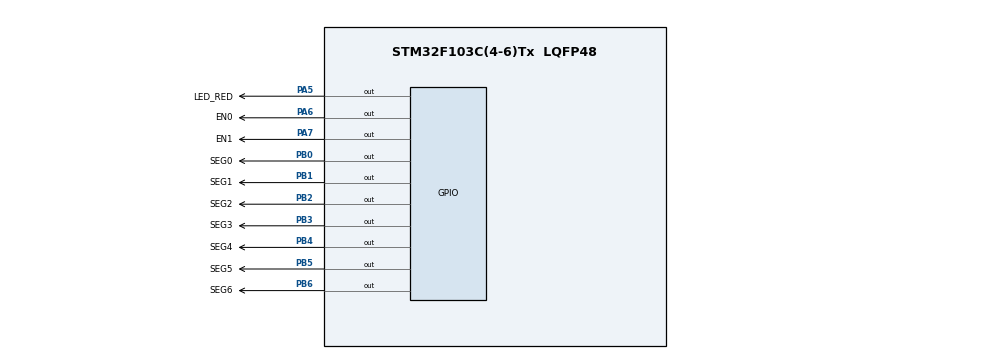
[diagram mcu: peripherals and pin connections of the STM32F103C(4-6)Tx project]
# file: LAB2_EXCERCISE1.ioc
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Mcu.Family=STM32F1
Mcu.Name=STM32F103C(4-6)Tx
Mcu.Package=LQFP48
NVIC.PriorityGroup=NVIC_PRIORITYGROUP_4
NVIC.TIM2_IRQn=true\:0\:0\:false\:false\:true\:true\:true
PA5.GPIO_Label=LED_RED
PA5.Signal=GPIO_Output
PA6.GPIO_Label=EN0
PA6.Signal=GPIO_Output
PA7.GPIO_Label=EN1
PA7.Signal=GPIO_Output
PB0.GPIO_Label=SEG0
PB0.Signal=GPIO_Output
PB1.GPIO_Label=SEG1
PB1.Signal=GPIO_Output
PB2.GPIO_Label=SEG2
PB2.Signal=GPIO_Output
PB3.GPIO_Label=SEG3
PB3.Signal=GPIO_Output
PB4.GPIO_Label=SEG4
PB4.Signal=GPIO_Output
PB5.GPIO_Label=SEG5
PB5.Signal=GPIO_Output
PB6.GPIO_Label=SEG6
PB6.Signal=GPIO_Output
ProjectManager.HeapSize=0x200
ProjectManager.StackSize=0x400
ProjectManager.TargetToolchain=STM32CubeIDE
RCC.APB1Freq_Value=8000000
RCC.APB2Freq_Value=8000000
TIM2.Period=9
TIM2.Prescaler=7999
VP_SYS_VS_ND.Mode=No_Debug
VP_TIM2_VS_ClockSourceINT.Mode=Internal
board=custom

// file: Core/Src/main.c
/* USER CODE BEGIN Header */
/**
  ******************************************************************************
  * @file           : main.c
  * @brief          : Main program body
  ******************************************************************************
  * @attention
  *
  * <h2><center>&copy; Copyright (c) 2025 STMicroelectronics.
  * All rights reserved.</center></h2>
  *
  * This software component is licensed by ST under BSD 3-Clause license,
  * the "License"; You may not use this file except in compliance with the
  * License. You may obtain a copy of the License at:
  *                        opensource.org/licenses/BSD-3-Clause
  *
  ******************************************************************************
  */
/* USER CODE END Header */
#include "main.h"

TIM_HandleTypeDef htim2;

void SystemClock_Config(void);
static void MX_GPIO_Init(void);
static void MX_TIM2_Init(void);

/* USER CODE BEGIN 0 */
void display7SEG(int num){
	char led7segm[10]={0xC0, 0xF9, 0xA4, 0xB0, 0x99, 0x92, 0x82, 0xF8, 0x80, 0x90};
	for(int i=0;i<7;i++){
		HAL_GPIO_WritePin(GPIOB, SEG0_Pin<<i,(led7segm[num]>>i)&1);
	}
}
/* USER CODE END 0 */

int main(void)
{

  /* MCU Configuration--------------------------------------------------------*/

  /* Reset of all peripherals, Initializes the Flash interface and the Systick. */
  HAL_Init();

  /* Configure the system clock */
  SystemClock_Config();

  /* Initialize all configured peripherals */
  MX_GPIO_Init();
  MX_TIM2_Init();
  /* USER CODE BEGIN 2 */
HAL_TIM_Base_Start_IT(&htim2);
  /* USER CODE END 2 */

  /* Infinite loop */
  while (1)
  {

  }
}

void SystemClock_Config(void)
{
  RCC_OscInitTypeDef RCC_OscInitStruct = {0};
  RCC_ClkInitTypeDef RCC_ClkInitStruct = {0};

  /** Initializes the RCC Oscillators according to the specified parameters
  * in the RCC_OscInitTypeDef structure.
  */
  RCC_OscInitStruct.OscillatorType = RCC_OSCILLATORTYPE_HSI;
  RCC_OscInitStruct.HSIState = RCC_HSI_ON;
  RCC_OscInitStruct.HSICalibrationValue = RCC_HSICALIBRATION_DEFAULT;
  RCC_OscInitStruct.PLL.PLLState = RCC_PLL_NONE;
  if (HAL_RCC_OscConfig(&RCC_OscInitStruct) != HAL_OK)
  {
    Error_Handler();
  }
  /** Initializes the CPU, AHB and APB buses clocks
  */
  RCC_ClkInitStruct.ClockType = RCC_CLOCKTYPE_HCLK|RCC_CLOCKTYPE_SYSCLK
                              |RCC_CLOCKTYPE_PCLK1|RCC_CLOCKTYPE_PCLK2;
  RCC_ClkInitStruct.SYSCLKSource = RCC_SYSCLKSOURCE_HSI;
  RCC_ClkInitStruct.AHBCLKDivider = RCC_SYSCLK_DIV1;
  RCC_ClkInitStruct.APB1CLKDivider = RCC_HCLK_DIV1;
  RCC_ClkInitStruct.APB2CLKDivider = RCC_HCLK_DIV1;

  if (HAL_RCC_ClockConfig(&RCC_ClkInitStruct, FLASH_LATENCY_0) != HAL_OK)
  {
    Error_Handler();
  }
}

static void MX_TIM2_Init(void)
{

  TIM_ClockConfigTypeDef sClockSourceConfig = {0};
  TIM_MasterConfigTypeDef sMasterConfig = {0};

  htim2.Instance = TIM2;
  htim2.Init.Prescaler = 7999;
  htim2.Init.CounterMode = TIM_COUNTERMODE_UP;
  htim2.Init.Period = 9;
  htim2.Init.ClockDivision = TIM_CLOCKDIVISION_DIV1;
  htim2.Init.AutoReloadPreload = TIM_AUTORELOAD_PRELOAD_DISABLE;
  if (HAL_TIM_Base_Init(&htim2) != HAL_OK)
  {
    Error_Handler();
  }
  sClockSourceConfig.ClockSource = TIM_CLOCKSOURCE_INTERNAL;
  if (HAL_TIM_ConfigClockSource(&htim2, &sClockSourceConfig) != HAL_OK)
  {
    Error_Handler();
  }
  sMasterConfig.MasterOutputTrigger = TIM_TRGO_RESET;
  sMasterConfig.MasterSlaveMode = TIM_MASTERSLAVEMODE_DISABLE;
  if (HAL_TIMEx_MasterConfigSynchronization(&htim2, &sMasterConfig) != HAL_OK)
  {
    Error_Handler();
  }

}

static void MX_GPIO_Init(void)
{
  GPIO_InitTypeDef GPIO_InitStruct = {0};

  /* GPIO Ports Clock Enable */
  __HAL_RCC_GPIOA_CLK_ENABLE();
  __HAL_RCC_GPIOB_CLK_ENABLE();

  /*Configure GPIO pin Output Level */
  HAL_GPIO_WritePin(GPIOA, LED_RED_Pin|EN0_Pin|EN1_Pin, GPIO_PIN_RESET);

  /*Configure GPIO pin Output Level */
  HAL_GPIO_WritePin(GPIOB, SEG0_Pin|SEG1_Pin|SEG2_Pin|SEG3_Pin
                          |SEG4_Pin|SEG5_Pin|SEG6_Pin, GPIO_PIN_RESET);

  /*Configure GPIO pins : LED_RED_Pin EN0_Pin EN1_Pin */
  GPIO_InitStruct.Pin = LED_RED_Pin|EN0_Pin|EN1_Pin;
  GPIO_InitStruct.Mode = GPIO_MODE_OUTPUT_PP;
  GPIO_InitStruct.Pull = GPIO_NOPULL;
  GPIO_InitStruct.Speed = GPIO_SPEED_FREQ_LOW;
  HAL_GPIO_Init(GPIOA, &GPIO_InitStruct);

  /*Configure GPIO pins : SEG0_Pin SEG1_Pin SEG2_Pin SEG3_Pin
                           SEG4_Pin SEG5_Pin SEG6_Pin */
  GPIO_InitStruct.Pin = SEG0_Pin|SEG1_Pin|SEG2_Pin|SEG3_Pin
                          |SEG4_Pin|SEG5_Pin|SEG6_Pin;
  GPIO_InitStruct.Mode = GPIO_MODE_OUTPUT_PP;
  GPIO_InitStruct.Pull = GPIO_NOPULL;
  GPIO_InitStruct.Speed = GPIO_SPEED_FREQ_LOW;
  HAL_GPIO_Init(GPIOB, &GPIO_InitStruct);

}

/* USER CODE BEGIN 4 */
int counter=100;
void HAL_TIM_PeriodElapsedCallback(TIM_HandleTypeDef *htim){
	if (counter == 100){
			display7SEG(1);
			HAL_GPIO_TogglePin(GPIOA, LED_RED_Pin);
			HAL_GPIO_WritePin(EN0_GPIO_Port, EN0_Pin, RESET);
			HAL_GPIO_WritePin(EN1_GPIO_Port, EN1_Pin, SET);
		}else if (counter == 50){
			display7SEG(2);
			HAL_GPIO_TogglePin(GPIOA, LED_RED_Pin);
			HAL_GPIO_WritePin(EN0_GPIO_Port, EN0_Pin, SET);
			HAL_GPIO_WritePin(EN1_GPIO_Port, EN1_Pin, RESET);
		}
	counter = (counter > 0) ? counter-1 : 100;
}
/* USER CODE END 4 */

void Error_Handler(void)
{
  __disable_irq();
  while (1)
  {
  }
}

/************************ (C) COPYRIGHT STMicroelectronics *****END OF FILE****/
